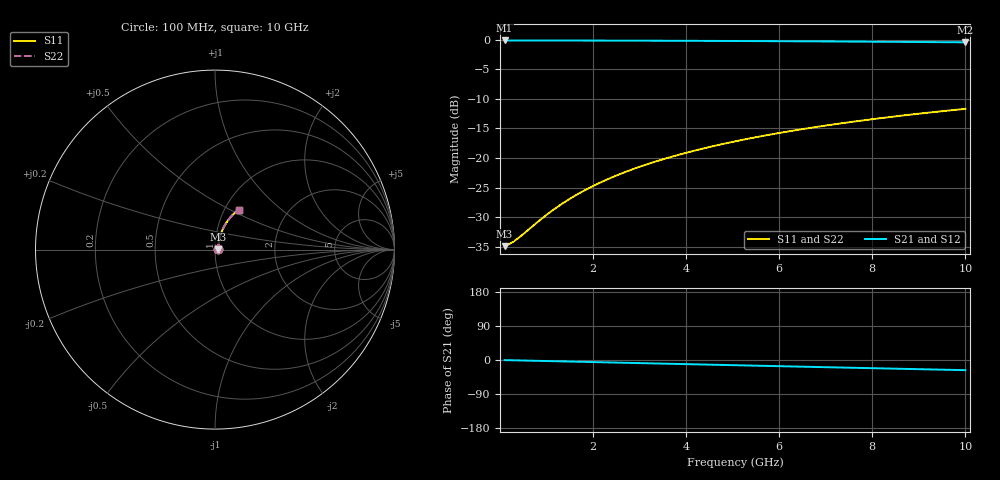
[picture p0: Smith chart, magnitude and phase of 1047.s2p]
# Hz S RI R 50.00
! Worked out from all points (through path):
!   100 points, 100 MHz to 10 GHz, reference 50 ohm
!   highest |S21| = -0.16 dB at 100 MHz (marker M1); lowest = -0.5 dB at 10 GHz (marker M2)
!   group delay of S21, straight-line fit = 7.46 ps
!   lowest |S11| = -34.9 dB at 100 MHz (marker M3), VSWR 1.04, Z = 51.8 + j0.277 ohm
!   |S11| at or under -10 dB: start of sweep to end of sweep
!   |S22| runs from -34.9 to -11.7 dB; largest |S21 - S12| = 0
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1e8  0.0178 0.00267  0.9822 -0.0047  0.9822 -0.0047  0.0178 0.00267
2e8  0.0179 0.00533  0.982 -0.0094  0.982 -0.0094  0.0179 0.00533
3e8  0.0181 0.008  0.9819 -0.0141  0.9819 -0.0141  0.0181 0.008
4e8  0.0182 0.0107  0.9817 -0.0188  0.9817 -0.0188  0.0182 0.0107
9e8  0.0193 0.0239  0.9805 -0.0422  0.9805 -0.0422  0.0193 0.0239
1.2e9  0.0202 0.0319  0.9795 -0.0563  0.9795 -0.0563  0.0202 0.0319
1.5e9  0.0213 0.0398  0.9782 -0.0703  0.9782 -0.0703  0.0213 0.0398
1.8e9  0.0227 0.0476  0.9766 -0.0842  0.9766 -0.0842  0.0227 0.0476
2.1e9  0.0242 0.0555  0.9748 -0.0981  0.9748 -0.0981  0.0242 0.0555
2.5e9  0.0266 0.0658  0.972 -0.1166  0.972 -0.1166  0.0266 0.0658
2.9e9  0.0294 0.076  0.9688 -0.135  0.9688 -0.135  0.0294 0.076
3.4e9  0.0334 0.0886  0.9641 -0.1577  0.9641 -0.1577  0.0334 0.0886
3.8e9  0.037 0.0985  0.9599 -0.1758  0.9599 -0.1758  0.037 0.0985
4.2e9  0.041 0.1082  0.9552 -0.1937  0.9552 -0.1937  0.041 0.1082
4.6e9  0.0454 0.1178  0.9501 -0.2114  0.9501 -0.2114  0.0454 0.1178
5.1e9  0.0513 0.1295  0.9432 -0.2333  0.9432 -0.2333  0.0513 0.1295
5.9e9  0.0618 0.1475  0.9308 -0.2676  0.9308 -0.2676  0.0618 0.1475
6.7e9  0.0736 0.1645  0.9169 -0.3009  0.9169 -0.3009  0.0736 0.1645
7.5e9  0.0865 0.1805  0.9015 -0.3333  0.9015 -0.3333  0.0865 0.1805
8.4e9  0.1023 0.1971  0.8827 -0.3684  0.8827 -0.3684  0.1023 0.1971
9.2e9  0.1173 0.2107  0.8647 -0.3984  0.8647 -0.3984  0.1173 0.2107
1e10  0.1331 0.223  0.8455 -0.4271  0.8455 -0.4271  0.1331 0.223
